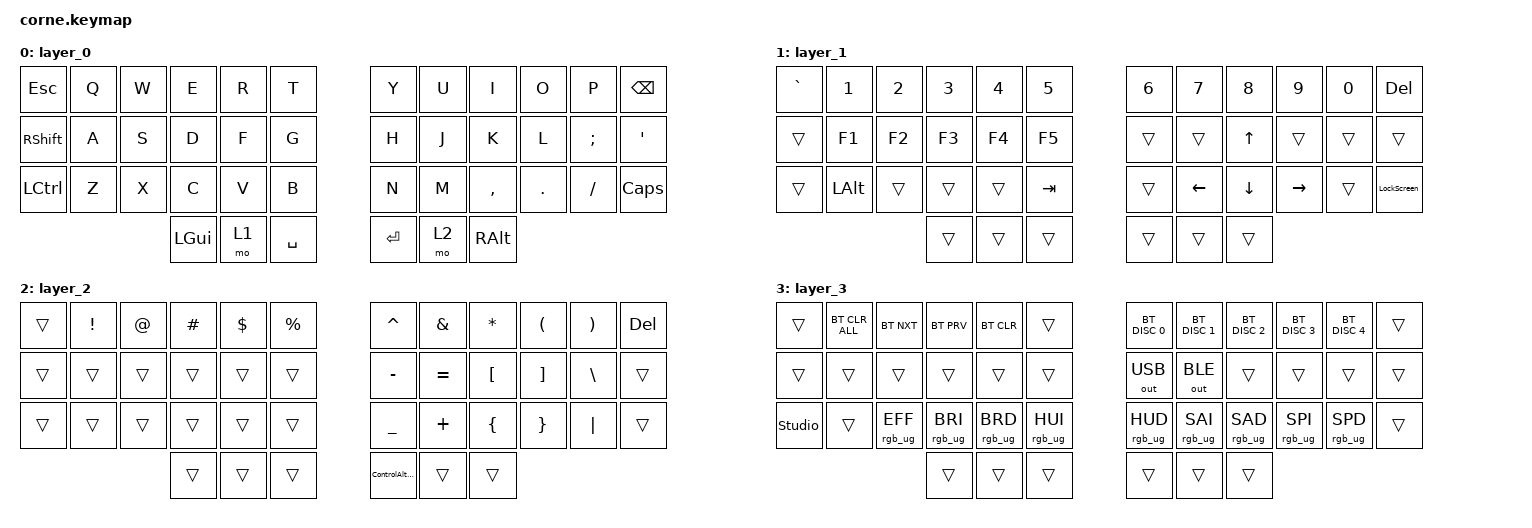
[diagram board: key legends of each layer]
#include <behaviors.dtsi>
#include <dt-bindings/zmk/backlight.h>
#include <dt-bindings/zmk/bt.h>
#include <dt-bindings/zmk/keys.h>
#include <dt-bindings/zmk/outputs.h>
#include <dt-bindings/zmk/rgb.h>

&led_strip {
    chain-length = <27>;
};

/ {
    macros {
        ControlAltDelete: ControlAltDelete {
            compatible = "zmk,behavior-macro";
            #binding-cells = <0>;
            bindings 
                = <&macro_press      &kp LEFT_CONTROL &kp LEFT_ALT &kp DEL>
                , <&macro_release     &kp LEFT_CONTROL &kp LEFT_ALT &kp DEL>
                ;
            label = "CONTROLALTDELETE";
        };
        LockScreen: LockScreen {
            compatible = "zmk,behavior-macro";
            #binding-cells = <0>;
            bindings = <&macro_tap &kp LGUI &kp L>;
//                = <&macro_press      &kp LGUI &kp L>
//                , <&macro_release     &kp LGUI &kp L>
//                ;
            label = "LockScreen";
        };
    };

    keymap {
        compatible = "zmk,keymap";

        layer_0 {
            bindings = <
&kp ESC    &kp Q  &kp W  &kp E     &kp R  &kp T        &kp Y    &kp U  &kp I      &kp O    &kp P     &kp BSPC
&kp RSHFT  &kp A  &kp S  &kp D     &kp F  &kp G        &kp H    &kp J  &kp K      &kp L    &kp SEMI  &kp SQT
&kp LCTRL  &kp Z  &kp X  &kp C     &kp V  &kp B        &kp N    &kp M  &kp COMMA  &kp DOT  &kp FSLH  &kp CAPSLOCK
                         &kp LGUI  &mo 1  &kp SPACE    &kp RET  &mo 2  &kp RALT
            >;
        };

        layer_1 {
            bindings = <
&kp GRAVE  &kp N1    &kp N2    &kp N3        &kp N4     &kp N5     &kp N6  &kp N7    &kp N8    &kp N9     &kp N0  &kp DEL
&trans     &kp F1    &kp F2    &kp F3        &kp F4     &kp F5     &trans  &trans    &kp UP    &trans     &trans  &trans
&trans     &kp LALT  &trans    &trans        &trans     &kp TAB    &trans  &kp LEFT  &kp DOWN  &kp RIGHT  &trans  &LockScreen
                               &trans        &trans     &trans     &trans  &trans    &trans
            >;
        };

        layer_2 {
            bindings = <
&trans  &kp EXCL   &kp AT    &kp POUND       &kp DLLR         &kp PRCNT    &kp CARET          &kp AMPS   &kp ASTRK       &kp LPAR         &kp RPAR  &kp DEL
&trans  &trans     &trans    &trans          &trans           &trans       &kp MINUS          &kp EQUAL  &kp LBKT        &kp RBKT         &kp BSLH  &trans
&trans  &trans     &trans    &trans          &trans           &trans       &kp UNDER          &kp PLUS   &kp LEFT_BRACE  &kp RIGHT_BRACE  &kp PIPE  &trans
                             &trans          &trans           &trans       &ControlAltDelete  &trans     &trans
            >;
        };

        layer_3 {
            bindings = <
&trans          &bt BT_CLR_ALL   &bt BT_NXT        &bt BT_PRV       &bt BT_CLR       &trans             &bt BT_DISC 0    &bt BT_DISC 1    &bt BT_DISC 2    &bt BT_DISC 3    &bt BT_DISC 4    &trans
&trans          &trans           &trans            &trans           &trans           &trans             &out OUT_USB     &out OUT_BLE     &trans           &trans           &trans           &trans
&studio_unlock  &trans           &rgb_ug RGB_EFF   &rgb_ug RGB_BRI  &rgb_ug RGB_BRD  &rgb_ug RGB_HUI    &rgb_ug RGB_HUD  &rgb_ug RGB_SAI  &rgb_ug RGB_SAD  &rgb_ug RGB_SPI  &rgb_ug RGB_SPD  &trans
                                                   &trans           &trans           &trans             &trans           &trans           &trans
            >;
        };
    };

    conditional_layers {
        compatible = "zmk,conditional-layers";

        Layer3 {
            if-layers = <1 2>;
            then-layer = <3>;
        };
    };
};
